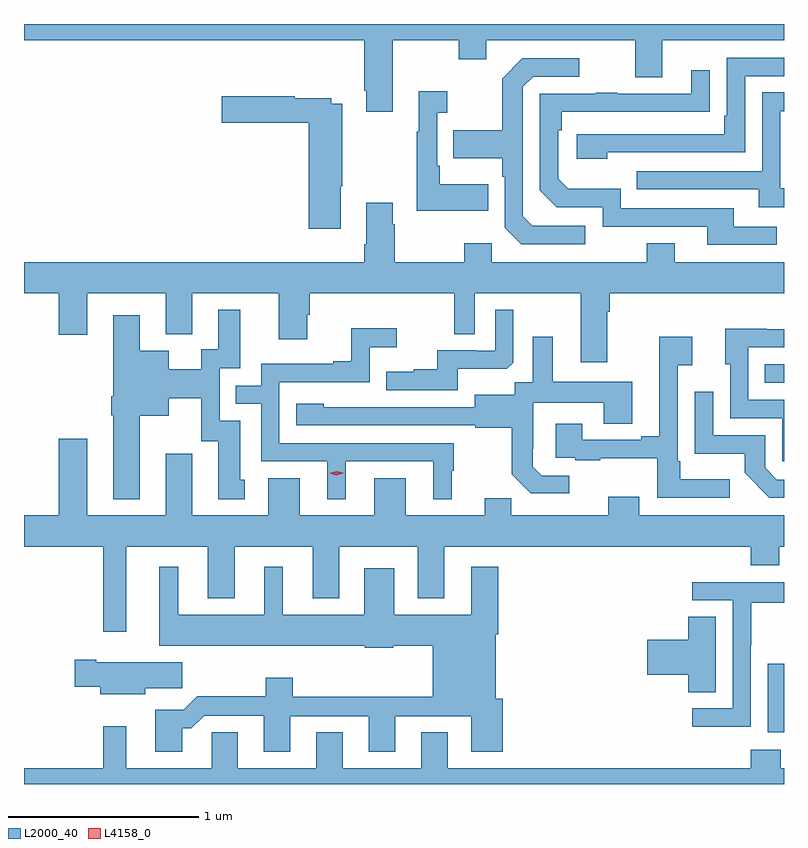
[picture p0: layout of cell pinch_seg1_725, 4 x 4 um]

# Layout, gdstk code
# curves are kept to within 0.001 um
import gdstk
lib = gdstk.Library(unit=1e-6, precision=1e-09)
def R(c, l, rs):  # rectangles x0, y0, x1, y1
    for r in rs: c.add(gdstk.rectangle(r[:2], r[2:], *l))
def P(c, l, *ps):  # polygons
    for p in ps: c.add(gdstk.Polygon(p, *l))
L2000_40 = (2000, 40)
L4158_0 = (4158, 0)

pinch_seg1_725 = lib.new_cell('pinch_seg1_725')
R(pinch_seg1_725, L2000_40, [(676.589,524.114,676.675,524.475), (676.573,525.954,676.675,526.05)])
P(pinch_seg1_725, L2000_40, [(672.675,527.756),(674.465,527.756),(674.465,527.491),(674.477,527.491),(674.477,527.379),(674.617,527.379),(674.617,527.756),(674.962,527.756),(674.962,527.657),(675.109,527.657),(675.109,527.756),(675.893,527.756),(675.893,527.562),(676.033,527.562),(676.033,527.756),(676.675,527.756),(676.675,527.842),(672.675,527.842)],
  [(675.746,527.166),(676.47,527.166),(676.47,527.568),(676.675,527.568),(676.675,527.664),(676.374,527.664),(676.374,527.359),(676.361,527.359),(676.361,527.262),(675.585,527.262),(675.585,527.132),(675.746,527.132)],
  [(675.628,526.779),(675.351,526.779),(675.3,526.83),(675.3,527.511),(675.354,527.565),(675.598,527.565),(675.598,527.661),(675.297,527.661),(675.192,527.555),(675.192,527.283),(674.935,527.283),(674.935,527.135),(675.192,527.135),(675.192,527.039),(675.204,527.039),(675.204,526.77),(675.291,526.683),(675.628,526.683)],
  [(676.636,526.776),(676.411,526.776),(676.411,526.872),(675.816,526.872),(675.816,526.975),(675.539,526.975),(675.486,527.028),(675.486,527.282),(675.506,527.282),(675.506,527.379),(676.283,527.38),(676.283,527.599),(676.187,527.599),(676.187,527.475),(675.797,527.475),(675.797,527.48),(675.685,527.48),(675.685,527.475),(675.39,527.475),(675.39,526.968),(675.48,526.878),(675.72,526.878),(675.72,526.776),(676.271,526.776),(676.271,526.68),(676.636,526.68)],
  [(675.119,526.999),(674.863,526.999),(674.863,527.095),(674.85,527.095),(674.85,527.375),(674.902,527.375),(674.902,527.488),(674.753,527.488),(674.753,527.275),(674.742,527.275),(674.742,526.859),(675.119,526.859)],
  [(676.675,526.977),(676.656,526.977),(676.656,527.382),(676.675,527.382),(676.675,527.483),(676.56,527.483),(676.56,527.067),(675.901,527.067),(675.901,526.971),(676.541,526.971),(676.541,526.877),(676.675,526.877)],
  [(674.341,526.987),(674.349,526.987),(674.349,527.422),(674.292,527.422),(674.292,527.451),(674.1,527.451),(674.1,527.463),(673.716,527.463),(673.716,527.321),(674.174,527.321),(674.174,526.764),(674.341,526.764)],
  [(675.745,526.328),(675.758,526.328),(675.758,526.424),(676.675,526.424),(676.675,526.588),(676.099,526.588),(676.099,526.687),(675.952,526.687),(675.952,526.588),(675.138,526.588),(675.138,526.687),(674.992,526.687),(674.992,526.588),(674.625,526.588),(674.625,526.787),(674.617,526.787),(674.617,526.9),(674.477,526.9),(674.477,526.684),(674.465,526.684),(674.465,526.588),(672.675,526.588),(672.675,526.424),(672.857,526.424),(672.857,526.206),(673.009,526.206),(673.009,526.424),(673.421,526.424),(673.421,526.208),(673.561,526.208),(673.561,526.424),(674.015,526.424),(674.015,526.182),(674.167,526.182),(674.167,526.311),(674.18,526.311),(674.18,526.424),(674.94,526.424),(674.94,526.21),(675.048,526.21),(675.048,526.424),(675.605,526.424),(675.605,526.062),(675.745,526.062)],
  [(673.285,525.779),(673.438,525.779),(673.438,525.872),(673.608,525.872),(673.608,525.645),(673.697,525.645),(673.697,525.342),(673.837,525.342),(673.837,525.444),(673.813,525.444),(673.813,525.753),(673.704,525.753),(673.704,526.029),(673.813,526.029),(673.813,526.339),(673.697,526.339),(673.697,526.13),(673.607,526.13),(673.607,526.024),(673.438,526.024),(673.438,526.123),(673.285,526.123),(673.285,526.309),(673.145,526.309),(673.145,525.883),(673.133,525.883),(673.133,525.783),(673.145,525.783),(673.145,525.341),(673.285,525.341)],
  [(674.959,526.028),(675.217,526.028),(675.249,526.059),(675.249,526.339),(675.156,526.339),(675.156,526.122),(675.056,526.122),(675.056,526.125),(674.849,526.125),(674.849,526.024),(674.725,526.024),(674.725,526.012),(674.581,526.012),(674.581,525.915),(674.959,525.915)],
  [(674.368,525.54),(674.828,525.54),(674.828,525.341),(674.926,525.341),(674.926,525.492),(674.938,525.492),(674.938,525.636),(674.019,525.636),(674.019,525.957),(674.496,525.957),(674.496,526.142),(674.638,526.142),(674.638,526.241),(674.398,526.241),(674.398,526.066),(674.303,526.066),(674.303,526.053),(673.923,526.053),(673.923,525.939),(673.789,525.939),(673.789,525.843),(673.923,525.843),(673.923,525.54),(674.27,525.54),(674.27,525.341),(674.368,525.341)],
  [(676.675,525.864),(676.488,525.864),(676.488,526.14),(676.675,526.14),(676.675,526.236),(676.585,526.236),(676.585,526.238),(676.367,526.238),(676.367,526.05),(676.392,526.05),(676.392,525.768),(676.665,525.768),(676.665,525.54),(676.675,525.54)],
  [(676.39,525.445),(676.129,525.445),(676.129,525.541),(676.116,525.541),(676.116,526.046),(676.192,526.046),(676.192,526.195),(676.019,526.195),(676.019,525.673),(675.923,525.673),(675.923,525.654),(675.613,525.654),(675.613,525.739),(675.473,525.739),(675.473,525.558),(675.577,525.558),(675.577,525.546),(675.709,525.546),(675.709,525.557),(676.008,525.557),(676.008,525.348),(676.39,525.348)],
  [(675.544,525.465),(675.399,525.465),(675.352,525.512),(675.352,525.607),(675.354,525.607),(675.354,525.848),(675.725,525.848),(675.725,525.739),(675.877,525.739),(675.877,525.958),(675.457,525.958),(675.457,526.195),(675.353,526.195),(675.353,525.956),(675.258,525.956),(675.258,525.892),(675.047,525.892),(675.047,525.825),(674.253,525.826),(674.253,525.844),(674.109,525.844),(674.109,525.729),(675.051,525.729),(675.051,525.717),(675.243,525.717),(675.243,525.471),(675.343,525.371),(675.544,525.371)],
  [(676.675,525.444),(676.638,525.444),(676.575,525.507),(676.575,525.678),(676.302,525.678),(676.302,525.907),(676.206,525.907),(676.206,525.581),(676.468,525.581),(676.468,525.479),(676.598,525.348),(676.675,525.348)],
  [(673.213,525.092),(673.643,525.092),(673.643,524.819),(673.783,524.819),(673.783,525.092),(674.195,525.092),(674.195,524.819),(674.335,524.819),(674.335,525.092),(674.747,525.092),(674.747,524.819),(674.887,524.819),(674.887,525.092),(676.499,525.092),(676.499,524.993),(676.651,524.993),(676.651,525.092),(676.675,525.092),(676.675,525.256),(675.913,525.256),(675.913,525.355),(675.749,525.355),(675.749,525.256),(675.239,525.256),(675.239,525.347),(675.101,525.347),(675.101,525.256),(674.683,525.256),(674.683,525.451),(674.519,525.451),(674.519,525.256),(674.125,525.256),(674.125,525.451),(673.961,525.451),(673.961,525.256),(673.561,525.256),(673.561,525.58),(673.421,525.58),(673.421,525.256),(673.009,525.256),(673.009,525.658),(672.857,525.658),(672.857,525.256),(672.675,525.256),(672.675,525.092),(673.092,525.092),(673.092,524.643),(673.213,524.643)],
  [(673.507,524.135),(673.556,524.135),(673.623,524.202),(673.937,524.202),(673.937,524.013),(674.077,524.013),(674.077,524.199),(674.489,524.199),(674.489,524.013),(674.629,524.013),(674.629,524.199),(675.029,524.199),(675.029,524.013),(675.194,524.013),(675.194,524.292),(675.157,524.292),(675.157,524.63),(675.17,524.63),(675.17,524.986),(675.029,524.986),(675.029,524.734),(674.623,524.734),(674.623,524.977),(674.465,524.977),(674.465,524.734),(674.038,524.734),(674.038,524.986),(673.94,524.986),(673.94,524.734),(673.486,524.734),(673.486,524.986),(673.388,524.986),(673.388,524.57),(674.469,524.57),(674.469,524.558),(674.619,524.558),(674.619,524.57),(674.825,524.57),(674.825,524.3),(674.09,524.3),(674.09,524.401),(673.948,524.401),(673.948,524.303),(673.586,524.303),(673.516,524.233),(673.367,524.233),(673.367,524.013),(673.507,524.013)],
  [(676.5,524.572),(676.503,524.572),(676.503,524.796),(676.675,524.796),(676.675,524.904),(676.191,524.904),(676.191,524.808),(676.404,524.808),(676.404,524.241),(676.191,524.241),(676.191,524.143),(676.5,524.143)],
  [(676.315,524.723),(676.172,524.723),(676.172,524.6),(675.954,524.6),(675.954,524.417),(676.172,524.417),(676.172,524.326),(676.315,524.326)],
  [(673.312,524.347),(673.507,524.347),(673.507,524.482),(673.054,524.482),(673.054,524.495),(672.942,524.495),(672.942,524.353),(673.076,524.353),(673.076,524.315),(673.312,524.315)],
  [(676.675,523.924),(676.659,523.924),(676.659,524.023),(676.499,524.023),(676.499,523.924),(674.905,523.924),(674.905,524.114),(674.765,524.114),(674.765,523.924),(674.353,523.924),(674.353,524.114),(674.213,524.114),(674.213,523.924),(673.801,523.924),(673.801,524.114),(673.662,524.114),(673.662,523.924),(673.213,523.924),(673.213,524.145),(673.092,524.145),(673.092,523.924),(672.675,523.924),(672.675,523.842),(676.675,523.842)])
P(pinch_seg1_725, L4158_0, [(674.319,525.468),(674.283,525.477),(674.283,525.477),(674.283,525.477),(674.319,525.488),(674.355,525.479),(674.355,525.479),(674.355,525.478)])

lib.write_gds('pinch_seg1_725.gds')
